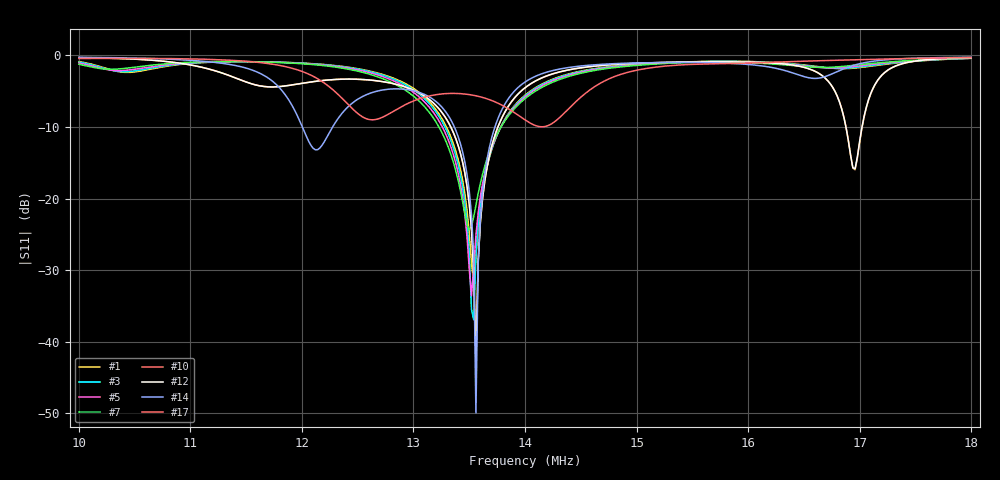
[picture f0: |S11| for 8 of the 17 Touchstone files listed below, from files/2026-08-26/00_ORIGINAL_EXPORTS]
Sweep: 10 MHz to 18 MHz
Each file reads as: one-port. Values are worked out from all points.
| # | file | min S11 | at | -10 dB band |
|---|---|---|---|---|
| 1 | AIT_T1.70_nanovna-sweep-1787774478974.s1p | -31.8 dB | 13.54 MHz | 486.8 kHz wide |
| 2 | AIT_T1.73_L0.11_nanovna-sweep-1787771052489.s1p | -45.4 dB | 13.58 MHz | 498.8 kHz wide |
| 3 | AIT_T1.73_retest_nanovna-sweep-1787774360075.s1p | -36.9 dB | 13.54 MHz | 502.2 kHz wide |
| 4 | AIT_T1.75_nanovna-sweep-1787774488149.s1p | -39.7 dB | 13.52 MHz | 509.4 kHz wide |
| 5 | AIT_T1.80_nanovna-sweep-1787774495166.s1p | -33.6 dB | 13.52 MHz | 526.7 kHz wide |
| 6 | AIT_T1.85_nanovna-sweep-1787774501649.s1p | -27.4 dB | 13.52 MHz | 543.1 kHz wide |
| 7 | AIT_T1.90_nanovna-sweep-1787774511166.s1p | -24.4 dB | 13.5 MHz | 557.8 kHz wide |
| 8 | AIT_T1.95_nanovna-sweep-1787774519633.s1p | -22.0 dB | 13.5 MHz | 571 kHz wide |
| 9 | AIT_T2.00_nanovna-sweep-1787774537495.s1p | -20.3 dB | 13.48 MHz | 583.2 kHz wide |
| 10 | AIT_T2.04_L0.54_180series_250shunt_nanovna-sweep-1787778641649.s1p | -40.9 dB | 13.56 MHz | 424.7 kHz wide |
| 11 | AIT_T2.04_L0.54_REPEAT1_180series_250shunt_nanovna-sweep-1787778932907.s1p | -45.6 dB | 13.56 MHz | 421.1 kHz wide |
| 12 | AIT_T2.04_L0.54_REPEAT2_180series_250shunt_nanovna-sweep-1787778988096.s1p | -43.0 dB | 13.56 MHz | 423.4 kHz wide |
| 13 | AIT_T2.04_L0.54_REPEAT3_180series_250shunt_nanovna-sweep-1787779061250.s1p | -40.1 dB | 13.56 MHz | 425.1 kHz wide |
| 14 | AIT_T2.44_L0.84_REPEAT1_120series_220shunt_nanovna-sweep-1787780763938.s1p | -50.0 dB | 13.56 MHz | 364.3 kHz wide |
| 15 | AIT_T2.44_L0.84_REPEAT2_120series_220shunt_nanovna-sweep-1787780968621.s1p | -42.0 dB | 13.56 MHz | 362.2 kHz wide |
| 16 | AIT_T2.44_L0.84_REPEAT3_120series_220shunt_nanovna-sweep-1787781023363.s1p | -46.7 dB | 13.56 MHz | 365.5 kHz wide |
| 17 | AIT_T4.92_L0.11_nanovna-sweep-1787773156857.s1p | -10.0 dB | 14.16 MHz | - |
